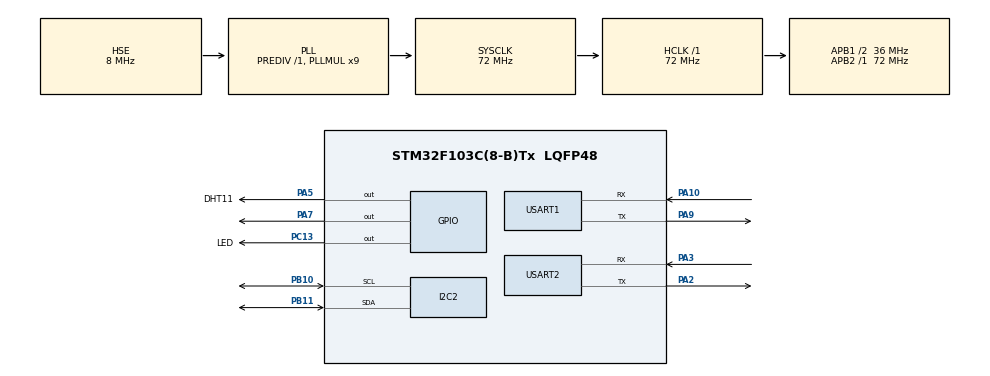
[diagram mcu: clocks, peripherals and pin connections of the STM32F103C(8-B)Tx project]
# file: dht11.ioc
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Mcu.Family=STM32F1
Mcu.Name=STM32F103C(8-B)Tx
Mcu.Package=LQFP48
NVIC.PriorityGroup=NVIC_PRIORITYGROUP_4
NVIC.USART1_IRQn=true\:0\:0\:false\:false\:true\:true\:true
NVIC.USART2_IRQn=true\:0\:0\:false\:false\:true\:true\:true
PA10.Mode=Asynchronous
PA10.Signal=USART1_RX
PA2.Mode=Asynchronous
PA2.Signal=USART2_TX
PA3.Mode=Asynchronous
PA3.Signal=USART2_RX
PA5.GPIO_Label=DHT11
PA5.Signal=GPIO_Output
PA7.Signal=GPIO_Output
PA9.Mode=Asynchronous
PA9.Signal=USART1_TX
PB10.Mode=I2C
PB10.Signal=I2C2_SCL
PB11.Mode=I2C
PB11.Signal=I2C2_SDA
PC13-TAMPER-RTC.GPIO_Label=LED
PC13-TAMPER-RTC.PinState=GPIO_PIN_SET
PC13-TAMPER-RTC.Signal=GPIO_Output
PD0-OSC_IN.Mode=HSE-External-Oscillator
PD0-OSC_IN.Signal=RCC_OSC_IN
PD1-OSC_OUT.Mode=HSE-External-Oscillator
PD1-OSC_OUT.Signal=RCC_OSC_OUT
ProjectManager.HeapSize=0x200
ProjectManager.StackSize=0x400
ProjectManager.TargetToolchain=MDK-ARM V5.32
RCC.AHBFreq_Value=72000000
RCC.APB1CLKDivider=RCC_HCLK_DIV2
RCC.APB1Freq_Value=36000000
RCC.APB1TimFreq_Value=72000000
RCC.APB2Freq_Value=72000000
RCC.APB2TimFreq_Value=72000000
RCC.HCLKFreq_Value=72000000
RCC.PLLMUL=RCC_PLL_MUL9
RCC.PLLSourceVirtual=RCC_PLLSOURCE_HSE
RCC.SYSCLKFreq_VALUE=72000000
RCC.SYSCLKSource=RCC_SYSCLKSOURCE_PLLCLK
RCC.USBFreq_Value=72000000
TIM1.Prescaler=71
USART1.VirtualMode=VM_ASYNC
USART2.VirtualMode=VM_ASYNC
VP_SYS_VS_ND.Mode=No_Debug
VP_TIM1_VS_ClockSourceINT.Mode=Internal
board=custom

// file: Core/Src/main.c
/* USER CODE BEGIN Header */
/**
  ******************************************************************************
  * @file           : main.c
  * @brief          : Main program body
  ******************************************************************************
  * @attention
  *
  * <h2><center>&copy; Copyright (c) 2024 STMicroelectronics.
  * All rights reserved.</center></h2>
  *
  * This software component is licensed by ST under BSD 3-Clause license,
  * the "License"; You may not use this file except in compliance with the
  * License. You may obtain a copy of the License at:
  *                        opensource.org/licenses/BSD-3-Clause
  *
  ******************************************************************************
  */
/* USER CODE END Header */
#include "main.h"
#include "i2c.h"
#include "tim.h"
#include "usart.h"
#include "gpio.h"

/* USER CODE BEGIN Includes */
#include "oled.h"
#include "dht.h"
#include "stdio.h"
#include "string.h"
#include "esp.h"
/* USER CODE END Includes */

/* USER CODE BEGIN PM */
#define RXBUFFERSIZE    1                       /* 缓存大小 */
#define USART_REC_LEN   200                     /* 定义最大接收字节数 200 */

extern uint16_t g_usart_rx_sta;
extern uint8_t g_usart_rx_buf[USART_REC_LEN];
extern uint8_t g_rx_buffer[RXBUFFERSIZE];    /* HAL库使用的串口接收缓冲 */
/* USER CODE END PM */

/* USER CODE BEGIN PV */
extern uint8_t Data[5];
/* USER CODE END PV */

void SystemClock_Config(void);

int main(void)
{

  /* MCU Configuration--------------------------------------------------------*/

  /* Reset of all peripherals, Initializes the Flash interface and the Systick. */
  HAL_Init();

  /* Configure the system clock */
  SystemClock_Config();

  /* Initialize all configured peripherals */
  MX_GPIO_Init();
  MX_USART1_UART_Init();
  MX_I2C2_Init();
  MX_TIM1_Init();
  MX_USART2_UART_Init();
  /* USER CODE BEGIN 2 */
  HAL_UART_Receive_IT(&huart1, (uint8_t *)g_rx_buffer, RXBUFFERSIZE);
  OLED_Init();
  OLED_CLS();
  esp_init();
  //esp_init();
//**************连接阿里云*********************//
//  printf("AT+RST\r\n");
//  HAL_Delay(1000);
//
//  printf("AT+CWMODE=1\r\n");
//  HAL_Delay(1000);
//
//  printf("AT+CIPSNTPCFG=1,8,\"ntp1.aliyun.com\"\r\n");
//  HAL_Delay(1000);
//
//  printf("AT+CWJAP=\"BK\",\"123456789\"\r\n");
//  HAL_Delay(3000);
//
//  printf("AT+MQTTUSERCFG=0,1,\"NULL\",\"ESP8266&k27cxs90Bxp\",\"640616e1cc37022be1f47501555deb9bfffdb47d75e56808b15d2c6211b4f68a\",0,0,\"\"\r\n");
//  HAL_Delay(3000);
//
//  printf("AT+MQTTCLIENTID=0,\"k27cxs90Bxp.ESP8266|securemode=2\\,signmethod=hmacsha256\\,timestamp=1735807505642|\"\r\n");
//  HAL_Delay(3000);
//
//  printf("AT+MQTTCONN=0,\"iot-06z00d9ipkcx6cf.mqtt.iothub.aliyuncs.com\",1883,1\r\n");
//  HAL_Delay(3000);
///******************************************/

//  printf("AT+MQTTSUB=0,\"/k27cxs90Bxp/ESP8266/user/get\",1\r\n");
//  HAL_Delay(3000);
//
//  printf("AT+MQTTPUB=0,\"/k27cxs90Bxp/ESP8266/user/update\",\"{\\\"LED\\\":1}\",1,0\r\n");
//  HAL_Delay(3000);
//
//  printf("AT+MQTTPUB=0,\"/k27cxs90Bxp/ESP8266/user/update\",\"{\\\"LED\\\":0}\",1,0\r\n");
//  HAL_Delay(3000);
  /* USER CODE END 2 */

  /* Infinite loop */
  while (1)
  {

    /* USER CODE BEGIN 3 */
	//HAL_GPIO_TogglePin(GPIOC,GPIO_PIN_13);
//	HAL_Delay(500);
	    if (g_usart_rx_sta & 0x8000)
        {

			//HAL_GPIO_WritePin(GPIOC,GPIO_PIN_13,GPIO_PIN_RESET);
			if(strstr((const char*)g_usart_rx_buf,"{\"LED\":1}"))
			{
				HAL_GPIO_WritePin(GPIOC,GPIO_PIN_13,GPIO_PIN_RESET);
			}
			else if(strstr((const char*)g_usart_rx_buf,"{\"LED\":0}"))
			{
				HAL_GPIO_WritePin(GPIOC,GPIO_PIN_13,GPIO_PIN_SET);
			}
            g_usart_rx_sta = 0;
        }
//		if (g_usart_rx_sta & 0x8000)
//		{
//		// 提取实际的 JSON 数据部分，去掉前缀 "+MQTTSUBRECV:0,"
//			char *json_data = (char*)g_usart_rx_buf;
//			char *start = strchr(json_data, '{');  // 查找 JSON 数据的开始位置
//			if (start != NULL)
//			{
//			// 找到 '{' 后的部分，确保我们只处理 JSON 数据
//				start++;  // 跳过 '{'
//
//			// 打印提取的 JSON 数据进行调试
//				//printf("Extracted JSON: %s\n", start);

//			// 检查 LED 的值
//				if (strstr(start, "\"LED\":1"))
//				{
//					HAL_GPIO_WritePin(GPIOC, GPIO_PIN_13, GPIO_PIN_RESET);  // LED打开
//					//printf("LED ON\n");
//				}
//				else if (strstr(start, "\"LED\":0"))
//				{
//					HAL_GPIO_WritePin(GPIOC, GPIO_PIN_13, GPIO_PIN_SET);  // LED关闭
//					//printf("LED OFF\n");
//				}
//			}

//		// 清除接收状态
//		g_usart_rx_sta = 0;
//		}
	  if(DHT_Read())
	  {
		  OLED_ShowStr(50,0,"SD",2);
		  OLED_ShowNum(0,0,Data[0],3,16);
		  OLED_ShowStr(50,3,"T",2);
		  OLED_ShowNum(0,3,Data[2],3,16);

	  }

		printf("AT+MQTTSUB=0,\"/sys/k27cxtvz9Br/mqtt_stm32/thing/service/property/set\",0\r\n");
		HAL_Delay(3000);

		//printf("AT+MQTTPUB=0,\"/sys/k27cxtvz9Br/mqtt_stm32/thing/event/property/post\",\"{\\\"params\\\":{\\\"temperature\\\":%d\\,\\\"Humidity\\\":%d}\\,\\\"version\\\":\\\"1.0.0\\\"}\",0,0\r\n",Data[2],Data[0]);
		//HAL_Delay(3000);
	  //HAL_UART_Transmit(&huart2,"AT+MQTTPUB=0,\"/sys/k27cxtvz9Br/mqtt_stm32/thing/event/property/post\",\"{\"params\":{\"temperature\":20\,\"Humidity\":30}\,\"version\":\"1.0.0\"}\",0,0",strlen("AT+MQTTPUB=0,\"/sys/k27cxtvz9Br/mqtt_stm32/thing/event/property/post\",\"{\"params\":{\"temperature\":20\,\"Humidity\":30}\,\"version\":\"1.0.0\"}\",0,0"),1000);
	  //HAL_Delay(2000);
	  //printf("AT+MQTTPUB=0,\"/k27cxs90Bxp/ESP8266/user/update\",\"{%d}\",1,0\r\n",Data[2]);
	  //HAL_Delay(2000);
//	  HAL_GPIO_TogglePin(GPIOC,GPIO_PIN_13);
//	  HAL_Delay(500);
  }
  /* USER CODE END 3 */
}

void SystemClock_Config(void)
{
  RCC_OscInitTypeDef RCC_OscInitStruct = {0};
  RCC_ClkInitTypeDef RCC_ClkInitStruct = {0};

  /** Initializes the RCC Oscillators according to the specified parameters
  * in the RCC_OscInitTypeDef structure.
  */
  RCC_OscInitStruct.OscillatorType = RCC_OSCILLATORTYPE_HSE;
  RCC_OscInitStruct.HSEState = RCC_HSE_ON;
  RCC_OscInitStruct.HSEPredivValue = RCC_HSE_PREDIV_DIV1;
  RCC_OscInitStruct.HSIState = RCC_HSI_ON;
  RCC_OscInitStruct.PLL.PLLState = RCC_PLL_ON;
  RCC_OscInitStruct.PLL.PLLSource = RCC_PLLSOURCE_HSE;
  RCC_OscInitStruct.PLL.PLLMUL = RCC_PLL_MUL9;
  if (HAL_RCC_OscConfig(&RCC_OscInitStruct) != HAL_OK)
  {
    Error_Handler();
  }
  /** Initializes the CPU, AHB and APB buses clocks
  */
  RCC_ClkInitStruct.ClockType = RCC_CLOCKTYPE_HCLK|RCC_CLOCKTYPE_SYSCLK
                              |RCC_CLOCKTYPE_PCLK1|RCC_CLOCKTYPE_PCLK2;
  RCC_ClkInitStruct.SYSCLKSource = RCC_SYSCLKSOURCE_PLLCLK;
  RCC_ClkInitStruct.AHBCLKDivider = RCC_SYSCLK_DIV1;
  RCC_ClkInitStruct.APB1CLKDivider = RCC_HCLK_DIV2;
  RCC_ClkInitStruct.APB2CLKDivider = RCC_HCLK_DIV1;

  if (HAL_RCC_ClockConfig(&RCC_ClkInitStruct, FLASH_LATENCY_2) != HAL_OK)
  {
    Error_Handler();
  }
}

void Error_Handler(void)
{
  __disable_irq();
  while (1)
  {
  }
}

/************************ (C) COPYRIGHT STMicroelectronics *****END OF FILE****/
